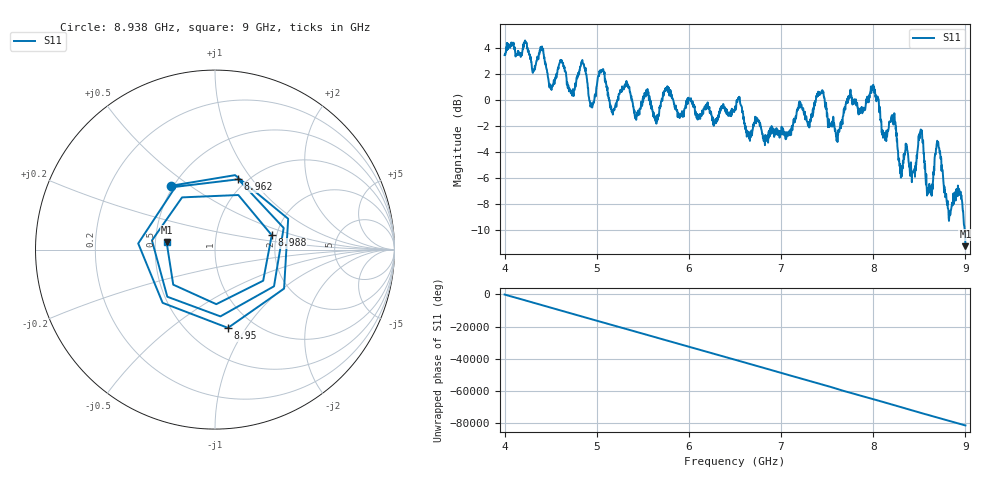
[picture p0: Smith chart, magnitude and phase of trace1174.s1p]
! Created with skrf 1.8.0 (http://scikit-rf.org).
# Hz S RI R 50.0
!freq ReS11 ImS11
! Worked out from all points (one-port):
!   1601 points, 4 GHz to 9 GHz, reference 50 ohm
!   lowest |S11| = -11.3 dB at 9 GHz (marker M1), VSWR 1.75, Z = 28.7 + j2.61 ohm
!   |S11| at or under -10 dB: 8.991627 GHz to end of sweep
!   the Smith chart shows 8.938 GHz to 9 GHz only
!   S11 on the Smith chart (normalised r, x): 8.938 GHz: 0.49, +0.43; 8.95 GHz: 0.77, -0.83; 8.962 GHz: 0.91, +0.86; 8.988 GHz: 1.89, +0.34; 9 GHz: 0.57, +0.05
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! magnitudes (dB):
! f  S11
! 4 GHz  3.4
! 4.4 GHz  4.1
! 4.506 GHz  0.9
! 4.625 GHz  2.8
! 4.725 GHz  0.6
! 4.853 GHz  2.8
! 4.944 GHz  -0.5
! 5.053 GHz  2.2
! 5.169 GHz  -1.0
! 5.25 GHz  0.5
! 5.875 GHz  -0.9
! 6.5 GHz  -0.5
! 7.125 GHz  -2.0
! 7.434 GHz  0.5
! 7.609 GHz  -2.7
! 7.75 GHz  0.6
! 7.997 GHz  1.0
! 8.116 GHz  -2.8
! 8.375 GHz  -4.1
! 8.516 GHz  -2.3
! 8.609 GHz  -6.5
! 8.703 GHz  -3.2
! 8.822 GHz  -9.3
! 8.938 GHz  -7.3
! 8.95 GHz  -7.1
! 8.962 GHz  -7.7
! 8.988 GHz  -9.7
! 9 GHz  -11.3
